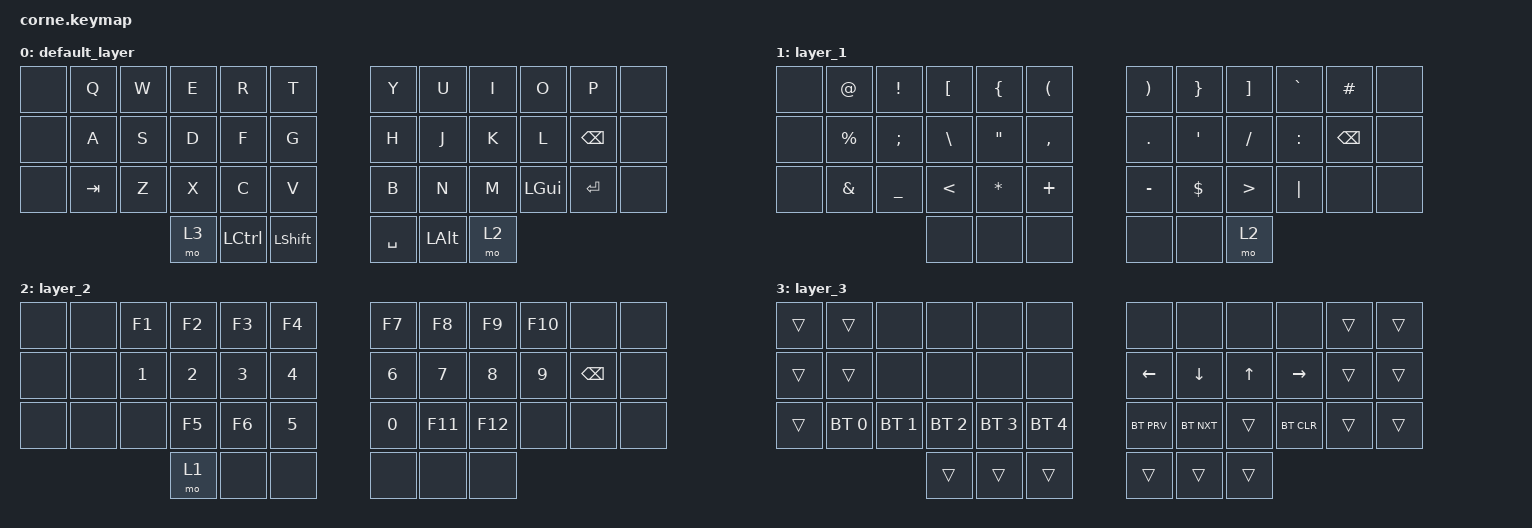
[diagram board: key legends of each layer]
/*
 * Copyright (c) 2020 The ZMK Contributors
 *
 * SPDX-License-Identifier: MIT
 */

#include <behaviors.dtsi>
#include <dt-bindings/zmk/bt.h>
#include <dt-bindings/zmk/keys.h>

/ {
    combos {
        compatible = "zmk,combos";

        dot {
            bindings = <&kp PERIOD>;
            key-positions = <17 3>;
        };

        esc {
            bindings = <&kp ESCAPE>;
            key-positions = <19 20>;
        };

        comma {
            bindings = <&kp COMMA>;
            key-positions = <18 8>;
        };

        left_par {
            bindings = <&kp LEFT_PARENTHESIS>;
            key-positions = <17 14>;
        };

        left_square {
            bindings = <&kp LEFT_BRACKET>;
            key-positions = <29 26>;
        };

        left_curly {
            bindings = <&kp LEFT_BRACE>;
            key-positions = <5 2>;
        };

        right_par {
            bindings = <&kp RIGHT_PARENTHESIS>;
            key-positions = <18 21>;
        };

        right_square {
            bindings = <&kp RIGHT_BRACKET>;
            key-positions = <30 33>;
        };

        right_curly {
            bindings = <&kp RIGHT_BRACE>;
            key-positions = <6 9>;
        };

        colon {
            bindings = <&kp COLON>;
            key-positions = <21 19>;
        };

        double_quotes {
            bindings = <&kp DOUBLE_QUOTES>;
            key-positions = <29 15>;
        };

        single_quotes {
            bindings = <&kp SINGLE_QUOTE>;
            key-positions = <30 20>;
        };

        tick {
            bindings = <&kp GRAVE>;
            key-positions = <30 21>;
        };

        forward_slash {
            bindings = <&kp SLASH>;
            key-positions = <18 7>;
        };

        back_slash {
            bindings = <&kp BACKSLASH>;
            key-positions = <17 4>;
        };

        less_than {
            bindings = <&kp LESS_THAN>;
            key-positions = <16 29>;
        };

        more_than {
            bindings = <&kp GREATER_THAN>;
            key-positions = <30 19>;
        };

        dollar {
            bindings = <&kp DOLLAR>;
            key-positions = <17 15>;
        };

        minus {
            bindings = <&kp MINUS>;
            key-positions = <29 27>;
        };

        plus {
            bindings = <&kp PLUS>;
            key-positions = <30 32>;
        };

        exclamation {
            bindings = <&kp EXCLAMATION>;
            key-positions = <3 5>;
        };

        equal {
            bindings = <&kp EQUAL>;
            key-positions = <6 8>;
        };

        underscore {
            bindings = <&kp UNDER>;
            key-positions = <31 33>;
        };

        asterisk {
            bindings = <&kp ASTERISK>;
            key-positions = <7 9>;
        };

        amp {
            bindings = <&kp LS(AMPERSAND)>;
            key-positions = <2 4>;
        };

        percent {
            bindings = <&kp LS(PERCENT)>;
            key-positions = <14 16>;
        };

        poud {
            bindings = <&kp POUND>;
            key-positions = <18 9>;
        };

        smicolon {
            bindings = <&kp SEMI>;
            key-positions = <18 20>;
        };

        pipe {
            bindings = <&kp PIPE>;
            key-positions = <26 28>;
        };

        at {
            bindings = <&kp AT>;
            key-positions = <14 5>;
        };

        question {
            bindings = <&kp QUESTION>;
            key-positions = <17 2>;
        };

        caret {
            bindings = <&kp CARET>;
            key-positions = <21 6>;
        };

        tilde {
            bindings = <&kp TILDE>;
            key-positions = <14 29>;
        };
    };

    behaviors {
        hold_tap: hold_tap {
            compatible = "zmk,behavior-hold-tap";
            label = "HOLD_TAP";
            bindings = <&kp>, <&kp>;

            #binding-cells = <2>;
            tapping-term-ms = <200>;
            flavor = "balanced";
        };
    };

    keymap {
        compatible = "zmk,keymap";

        default_layer {
            // ------------------------------------------------------------------
            // |  Q  |  W  |  E  |  R  |  T  |   |  Y  |  U   |  I  |  O  |  P  |
            // |  A  |  S  |  D  |  F  |  G  |   |  H  |  J   |  K  |  L  |  ;  |
            // |  Z  |  X  |  C  |  V  |  B  |   |  N  |  M   |  ,  |  .  |  /  |
            //             | GUI | LWR | SPC |   | ENT | RSE  | ALT |

            bindings = <
&none  &kp Q    &kp W  &kp E  &kp R             &kp T             &kp Y      &kp U         &kp I  &kp O     &kp P          &none
&none  &kp A    &kp S  &kp D  &kp F             &kp G             &kp H      &kp J         &kp K  &kp L     &kp BACKSPACE  &none
&none  &kp TAB  &kp Z  &kp X  &kp C             &kp V             &kp B      &kp N         &kp M  &kp LGUI  &kp ENTER      &none
                       &mo 3  &kp LEFT_CONTROL  &kp LEFT_SHIFT    &kp SPACE  &kp LEFT_ALT  &mo 2
            >;
        };

        layer_1 {
            bindings = <
&none  &kp AT_SIGN    &kp EXCLAMATION  &kp LEFT_BRACKET  &kp LEFT_BRACE     &kp LEFT_PARENTHESIS    &kp RIGHT_PARENTHESIS  &kp RIGHT_BRACE   &kp RIGHT_BRACKET  &kp GRAVE  &kp HASH       &none
&none  &kp PERCENT    &kp SEMICOLON    &kp BACKSLASH     &kp DOUBLE_QUOTES  &kp COMMA               &kp DOT                &kp SINGLE_QUOTE  &kp SLASH          &kp COLON  &kp BACKSPACE  &none
&none  &kp AMPERSAND  &kp UNDERSCORE   &kp LESS_THAN     &kp STAR           &kp PLUS                &kp MINUS              &kp DOLLAR        &kp GREATER_THAN   &kp PIPE   &none          &none
                                       &none             &none              &none                   &none                  &none             &mo 2
            >;
        };

        layer_2 {
            bindings = <
&none  &none  &kp F1  &kp F2  &kp F3  &kp F4    &kp F7  &kp F8   &kp F9   &kp F10  &none          &none
&none  &none  &kp N1  &kp N2  &kp N3  &kp N4    &kp N6  &kp N7   &kp N8   &kp N9   &kp BACKSPACE  &none
&none  &none  &none   &kp F5  &kp F6  &kp N5    &kp N0  &kp F11  &kp F12  &none    &none          &none
                      &mo 1   &none   &none     &none   &none    &none
            >;
        };

        layer_3 {
            bindings = <
&trans  &trans        &none         &none         &none         &none           &none       &none           &none         &none       &trans  &trans
&trans  &trans        &none         &none         &none         &none           &kp LEFT    &kp DOWN_ARROW  &kp UP_ARROW  &kp RIGHT   &trans  &trans
&trans  &bt BT_SEL 0  &bt BT_SEL 1  &bt BT_SEL 2  &bt BT_SEL 3  &bt BT_SEL 4    &bt BT_PRV  &bt BT_NXT      &trans        &bt BT_CLR  &trans  &trans
                                    &trans        &trans        &trans          &trans      &trans          &trans
            >;
        };
    };

    conditional_layers {
        compatible = "zmk,conditional-layers";
    };
};
